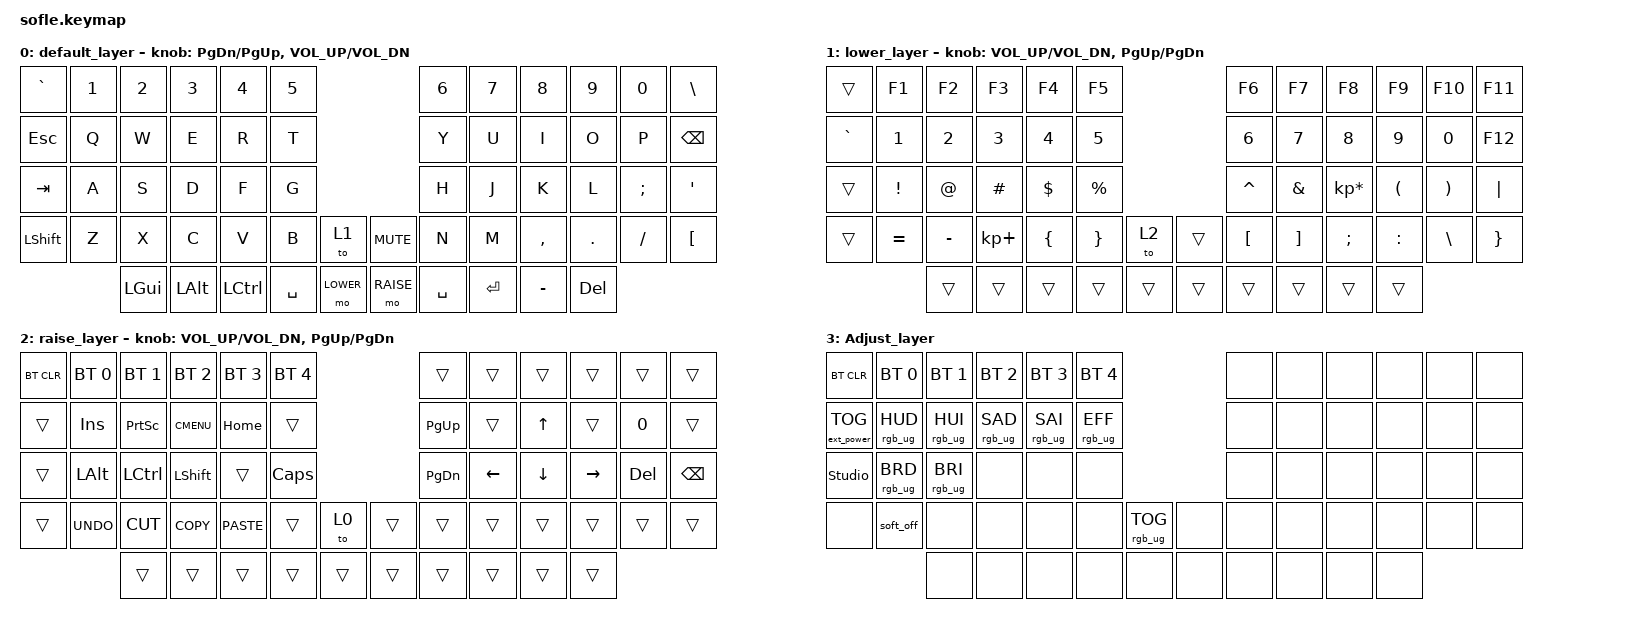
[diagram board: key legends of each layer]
/*
 * Copyright (c) 2020 The ZMK Contributors
 *
 * SPDX-License-Identifier: MIT
 */

#include <behaviors.dtsi>
#include <dt-bindings/zmk/bt.h>
#include <dt-bindings/zmk/ext_power.h>
#include <dt-bindings/zmk/keys.h>
#include <dt-bindings/zmk/rgb.h>

#define BASE 0
#define LOWER 1
#define RAISE 2
#define ADJUST 3

/ {
    // Activate ADJUST layer by pressing raise and lower

    conditional_layers {
        compatible = "zmk,conditional-layers";

        adjust_layer {
            if-layers = <LOWER RAISE>;
            then-layer = <ADJUST>;
        };
    };

    keymap {
        compatible = "zmk,keymap";

        default_layer {
            bindings = <
&kp GRAVE  &kp N1  &kp N2    &kp N3    &kp N4     &kp N5                               &kp N6     &kp N7     &kp N8     &kp N9      &kp N0    &kp BSLH
&kp ESC    &kp Q   &kp W     &kp E     &kp R      &kp T                                &kp Y      &kp U      &kp I      &kp O       &kp P     &kp BSPC
&kp TAB    &kp A   &kp S     &kp D     &kp F      &kp G                                &kp H      &kp J      &kp K      &kp L       &kp SEMI  &kp SQT
&kp LSHFT  &kp Z   &kp X     &kp C     &kp V      &kp B      &to 1        &kp C_MUTE   &kp N      &kp M      &kp COMMA  &kp DOT     &kp FSLH  &kp LEFT_BRACKET
                   &kp LGUI  &kp LALT  &kp LCTRL  &kp SPACE  &mo LOWER    &mo RAISE    &kp SPACE  &kp ENTER  &kp MINUS  &kp DELETE
            >;

            sensor-bindings = <&inc_dec_kp PG_DN PG_UP &inc_dec_kp C_VOLUME_UP C_VOL_DN>;
        };

        lower_layer {
            bindings = <
&trans     &kp F1     &kp F2     &kp F3       &kp F4    &kp F5                       &kp F6     &kp F7    &kp F8           &kp F9     &kp F10   &kp F11
&kp GRAVE  &kp N1     &kp N2     &kp N3       &kp N4    &kp N5                       &kp N6     &kp N7    &kp N8           &kp N9     &kp N0    &kp F12
&trans     &kp EXCL   &kp AT     &kp HASH     &kp DLLR  &kp PRCNT                    &kp CARET  &kp AMPS  &kp KP_MULTIPLY  &kp LPAR   &kp RPAR  &kp PIPE
&trans     &kp EQUAL  &kp MINUS  &kp KP_PLUS  &kp LBRC  &kp RBRC  &to 2      &trans  &kp LBKT   &kp RBKT  &kp SEMI         &kp COLON  &kp BSLH  &kp RIGHT_BRACE
                      &trans     &trans       &trans    &trans    &trans     &trans  &trans     &trans    &trans           &trans
            >;

            sensor-bindings = <&inc_dec_kp C_VOL_UP C_VOL_DN &inc_dec_kp PG_UP PG_DN>;
        };

        raise_layer {
            bindings = <
&bt BT_CLR  &bt BT_SEL 0  &bt BT_SEL 1  &bt BT_SEL 2  &bt BT_SEL 3  &bt BT_SEL 4                    &trans     &trans    &trans    &trans     &trans   &trans
&trans      &kp INS       &kp PSCRN     &kp K_CMENU   &kp HOME      &trans                          &kp PG_UP  &trans    &kp UP    &trans     &kp N0   &trans
&trans      &kp LALT      &kp LCTRL     &kp LSHFT     &trans        &kp CLCK                        &kp PG_DN  &kp LEFT  &kp DOWN  &kp RIGHT  &kp DEL  &kp BSPC
&trans      &kp K_UNDO    &kp K_CUT     &kp K_COPY    &kp K_PASTE   &trans        &to 0     &trans  &trans     &trans    &trans    &trans     &trans   &trans
                          &trans        &trans        &trans        &trans        &trans    &trans  &trans     &trans    &trans    &trans
            >;

            sensor-bindings = <&inc_dec_kp C_VOL_UP C_VOL_DN &inc_dec_kp PG_UP PG_DN>;
        };

        Adjust_layer {
            bindings = <
&bt BT_CLR       &bt BT_SEL 0     &bt BT_SEL 1     &bt BT_SEL 2     &bt BT_SEL 3     &bt BT_SEL 4                    &none  &none  &none  &none  &none  &none
&ext_power EP_TOG &rgb_ug RGB_HUD  &rgb_ug RGB_HUI  &rgb_ug RGB_SAD  &rgb_ug RGB_SAI  &rgb_ug RGB_EFF                 &none  &none  &none  &none  &none  &none
&studio_unlock   &rgb_ug RGB_BRD  &rgb_ug RGB_BRI  &none            &none            &none                           &none  &none  &none  &none  &none  &none
&none            &soft_off        &none            &none            &none            &none  &rgb_ug RGB_TOG  &none  &none  &none  &none  &none  &none  &none
                                  &none            &none            &none            &none  &none            &none  &none  &none  &none  &none
            >;
        };
    };
};
